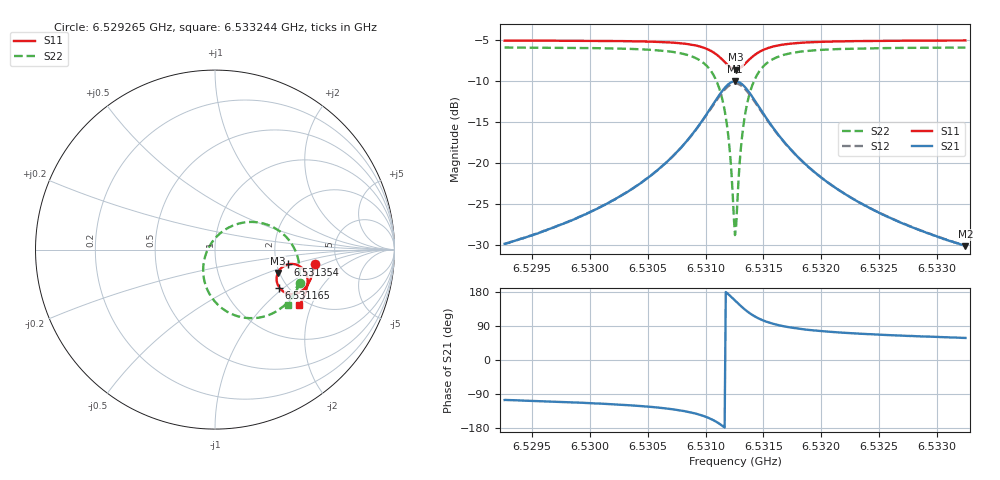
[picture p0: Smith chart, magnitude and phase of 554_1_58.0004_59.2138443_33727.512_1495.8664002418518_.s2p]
#  HZ  S  RI  R  50.00
! Rohde & Schwarz Vector Network Analyzer
! Rohde-Schwarz,ZNB20-2Port,1311601062101988,3.16
! Created: UTC 3/21/2024, 1:15:07 AM
! freq[Hz]  re:S11  im:S11  re:S21  im:S21  re:S12  im:S12  re:S22  im:S22
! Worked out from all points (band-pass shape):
!   401 points, 6.529265 GHz to 6.533244 GHz, reference 50 ohm
!   highest |S21| = -9.98 dB at 6.531255 GHz (marker M1); lowest = -30.1 dB at 6.533244 GHz (marker M2)
!   |S21| within 3 dB of the highest: 6.531057 GHz to 6.531455 GHz (397.8 kHz wide, 0.00609 % of centre)
!   lowest |S11| = -8.6 dB at 6.531265 GHz (marker M3), VSWR 2.19, Z = 98 - j29.6 ohm
!   |S11| at or under -10 dB: nowhere
!   |S22| runs from -28.8 to -5.9 dB; largest |S21 - S12| = 0.013
!   S11 on the Smith chart (normalised r, x): 6.529265 GHz: 3.36, -0.76; 6.531165 GHz: 1.81, -0.93; 6.531354 GHz: 2.30, -0.46; 6.533244 GHz: 1.82, -1.64
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6.529265e9  0.5554 -0.0777  -0.00864 -0.031  -0.00916 -0.0309  0.4738 -0.1866
6.5299315e9  0.5436 -0.1333  -0.0184 -0.0438  -0.0196 -0.0435  0.4407 -0.2482
6.5302897e9  0.5317 -0.1668  -0.0308 -0.0567  -0.0322 -0.0559  0.4087 -0.2898
6.5305981e9  0.5133 -0.2002  -0.0541 -0.0749  -0.056 -0.0733  0.356 -0.3351
6.5308269e9  0.485 -0.2294  -0.0954 -0.0938  -0.0981 -0.0905  0.2728 -0.3731
6.530996e9  0.4397 -0.2475  -0.1656 -0.0989  -0.1676 -0.0921  0.1441 -0.3759
6.5310955e9  0.3937 -0.2407  -0.2364 -0.0702  -0.2351 -0.0603  0.0254 -0.3159
6.5311651e9  0.3582 -0.2112  -0.2879 -0.00905  -0.2815 0.00104  -0.0504 -0.2042
6.5312049e9  0.3454 -0.1819  -0.3033 0.0459  -0.2936 0.0538  -0.066 -0.111
6.5312348e9  0.3437 -0.156  -0.3012 0.0923  -0.2898 0.0978  -0.0543 -0.0351
6.5312447e9  0.345 -0.1471  -0.2974 0.1082  -0.2858 0.1123  -0.0453 -0.0102
6.5312547e9  0.3472 -0.1384  -0.2919 0.1234  -0.2802 0.1265  -0.0338 0.0135
6.5312646e9  0.3503 -0.1299  -0.2849 0.138  -0.2735 0.1402  -0.0202 0.0363
6.5313144e9  0.3772 -0.0962  -0.233 0.196  -0.2234 0.1938  0.0744 0.1218
6.5313541e9  0.4057 -0.0826  -0.1821 0.2187  -0.1751 0.2151  0.162 0.1513
6.5314238e9  0.4506 -0.0832  -0.1038 0.2193  -0.1005 0.216  0.2927 0.1385
6.5315233e9  0.4893 -0.1067  -0.0373 0.1859  -0.0358 0.1839  0.3998 0.0674
6.5316725e9  0.5111 -0.1441  0.00204 0.1365  0.00298 0.1358  0.4575 -0.0314
6.5319212e9  0.5157 -0.1881  0.018 0.0889  0.0191 0.0885  0.4707 -0.131
6.5322296e9  0.5089 -0.2252  0.0203 0.06  0.0212 0.0596  0.4593 -0.1986
6.5325878e9  0.4967 -0.2583  0.0192 0.0424  0.0199 0.0422  0.4408 -0.2473
6.5332444e9  0.4708 -0.3077  0.0164 0.0264  0.0169 0.0263  0.406 -0.3063
